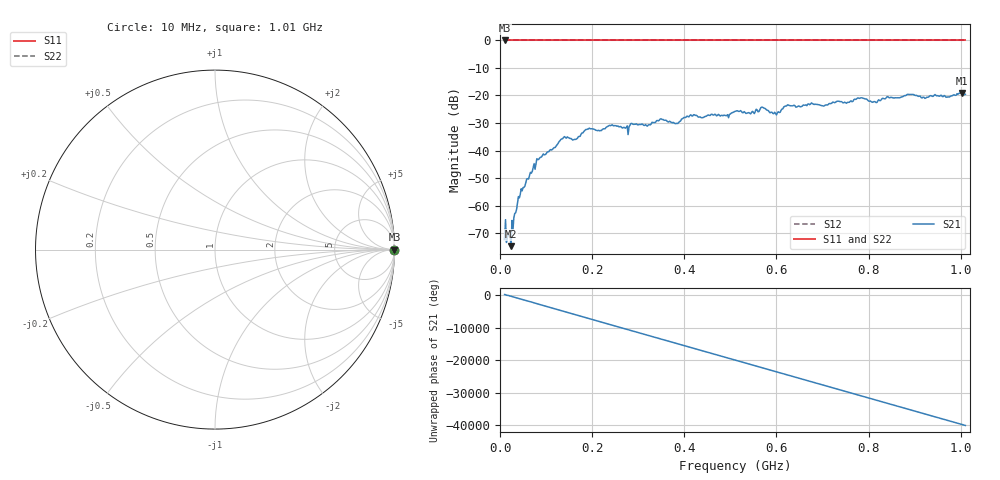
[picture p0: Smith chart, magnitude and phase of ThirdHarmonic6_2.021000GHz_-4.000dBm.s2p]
! 8/17/2025 12:15:24 AM
! C:\ANRITSUVNA\TEMP\TEMP.S2P
! CHANNEL.1
! TR.MEASUREMENT
! RAW.DATA
! RF.CORRECTION.OFF
! AVERAGING.OFF
! IF.BANDWIDTH: 5KHZ
! SWEEPTYPE:  FREQ.SWEEP(Linear)
! Reference Plane Port Info
! PORT:  PORT1  PORT2
! DISTANCE:  0  m  0  m
! TIME:  0  s  0  s
! PHASE.OFFSET:  0  deg.  0  deg.
! LOSS:  0  dB  0  dB
! REF.LOSS:  0  dB  0  dB
! REF.FREQ:  0  Hz  0  Hz
! Power Info
! POWER:  -20  dBm  -20  dBm
! EFF.POWER:  -20  dBm  -20  dBm
! SOURCE.ATTEN:  0  dB  0  dB
! TEST.ATTEN:  0  dB  0  dB
# GHZ S RI R 50.0
! FREQ.GHZ  S11RE  S11IM  S21RE  S21IM  S12RE  S12IM  S22RE  S22IM
!; PortSelection: Port_12
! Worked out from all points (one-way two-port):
!   501 points, 10 MHz to 1.01 GHz, reference 50 ohm
!   highest |S21| = -19.06 dB at 1.002 GHz (marker M1); lowest = -74.8 dB at 24 MHz (marker M2)
!   lowest |S11| = 0.0 dB at 10 MHz (marker M3)
!   |S11| at or under -10 dB: nowhere
!   |S22| runs from 0.0 to 0.0 dB; largest |S21 - S12| = 1.1
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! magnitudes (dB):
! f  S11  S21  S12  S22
! 10 MHz  0.0  -72.3  0.0  0.0
! 24 MHz  0.0  -74.8  0.0  0.0
! 42 MHz  0.0  -57.2  0.0  0.0
! 84 MHz  0.0  -43.3  0.0  0.0
! 136 MHz  0.0  -35.7  0.0  0.0
! 162 MHz  0.0  -35.9  0.0  0.0
! 178 MHz  0.0  -33.6  0.0  0.0
! 190 MHz  0.0  -32.2  0.0  0.0
! 344 MHz  0.0  -29.2  0.0  0.0
! 382 MHz  0.0  -30.2  0.0  0.0
! 416 MHz  0.0  -27.4  0.0  0.0
! 510 MHz  0.0  -25.8  0.0  0.0
! 548 MHz  0.0  -25.8  0.0  0.0
! 570 MHz  0.0  -24.3  0.0  0.0
! 596 MHz  0.0  -26.1  0.0  0.0
! 622 MHz  0.0  -23.8  0.0  0.0
! 678 MHz  0.0  -22.9  0.0  0.0
! 782 MHz  0.0  -20.9  0.0  0.0
! 814 MHz  0.0  -22.3  0.0  0.0
! 844 MHz  0.0  -20.8  0.0  0.0
! 1.002 GHz  0.0  -19.1  0.0  0.0
! 1.01 GHz  0.0  -19.6  0.0  0.0
